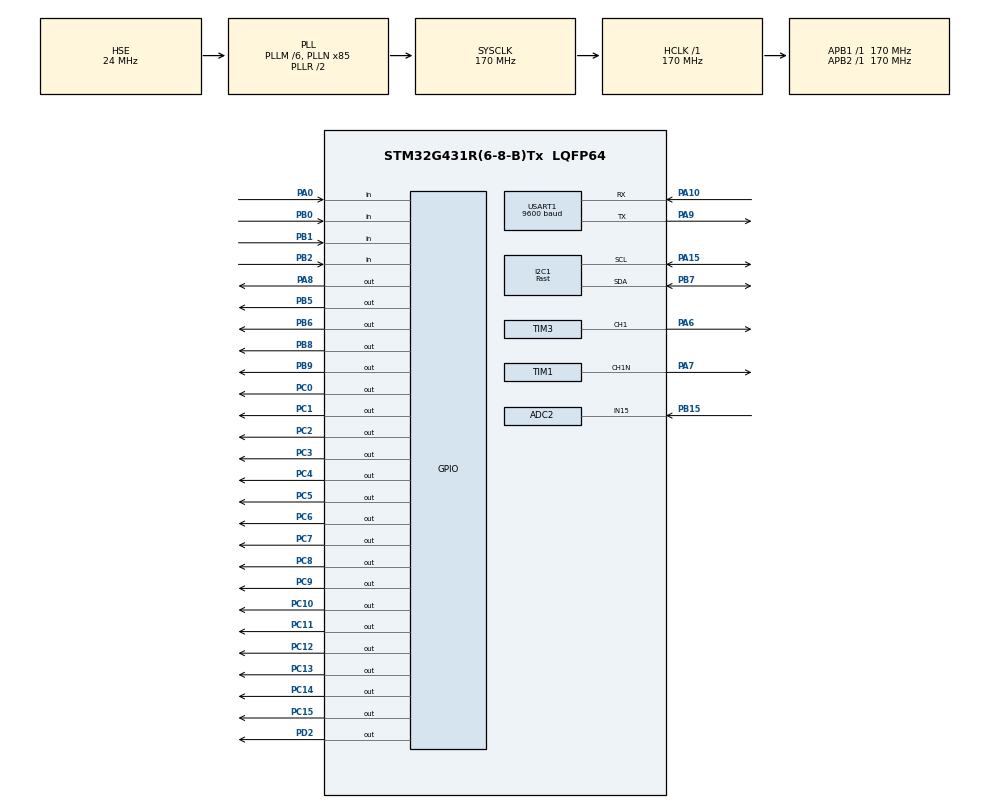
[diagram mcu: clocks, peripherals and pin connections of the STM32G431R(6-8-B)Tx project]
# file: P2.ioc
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ADC2.Channel-0\#ChannelRegularConversion=ADC_CHANNEL_15
ADC2.NbrOfConversionFlag=1
ADC2.OffsetNumber-0\#ChannelRegularConversion=ADC_OFFSET_NONE
ADC2.Rank-0\#ChannelRegularConversion=1
ADC2.SamplingTime-0\#ChannelRegularConversion=ADC_SAMPLETIME_2CYCLES_5
I2C1.CustomTiming=Enabled
I2C1.I2C_Speed_Mode=I2C_Fast
I2C1.Timing=0x30A0A7FB
Mcu.Family=STM32G4
Mcu.Name=STM32G431R(6-8-B)Tx
Mcu.Package=LQFP64
NVIC.PriorityGroup=NVIC_PRIORITYGROUP_4
NVIC.USART1_IRQn=true\:0\:0\:false\:false\:true\:true\:true\:true
PA0.Signal=GPIO_Input
PA10.Mode=Asynchronous
PA10.Signal=USART1_RX
PA13.Mode=Serial_Wire
PA13.Signal=SYS_JTMS-SWDIO
PA14.Mode=Serial_Wire
PA14.Signal=SYS_JTCK-SWCLK
PA15.Mode=I2C
PA15.Signal=I2C1_SCL
PA6.Signal=S_TIM3_CH1
PA7.Mode=PWM Generation1 CH1N
PA7.Signal=TIM1_CH1N
PA8.Signal=GPIO_Output
PA9.Mode=Asynchronous
PA9.Signal=USART1_TX
PB0.Signal=GPIO_Input
PB1.Signal=GPIO_Input
PB15.Mode=IN15-Single-Ended
PB15.Signal=ADC2_IN15
PB2.Signal=GPIO_Input
PB5.Signal=GPIO_Output
PB6.Signal=GPIO_Output
PB7.Mode=I2C
PB7.Signal=I2C1_SDA
PB8-BOOT0.Signal=GPIO_Output
PB9.Signal=GPIO_Output
PC0.Signal=GPIO_Output
PC1.Signal=GPIO_Output
PC10.Signal=GPIO_Output
PC11.Signal=GPIO_Output
PC12.Signal=GPIO_Output
PC13.Signal=GPIO_Output
PC14-OSC32_IN.Signal=GPIO_Output
PC15-OSC32_OUT.Signal=GPIO_Output
PC2.Signal=GPIO_Output
PC3.Signal=GPIO_Output
PC4.Signal=GPIO_Output
PC5.Signal=GPIO_Output
PC6.Signal=GPIO_Output
PC7.Signal=GPIO_Output
PC8.Signal=GPIO_Output
PC9.Signal=GPIO_Output
PD2.Signal=GPIO_Output
PF0-OSC_IN.Mode=HSE-External-Oscillator
PF0-OSC_IN.Signal=RCC_OSC_IN
PF1-OSC_OUT.Mode=HSE-External-Oscillator
PF1-OSC_OUT.Signal=RCC_OSC_OUT
ProjectManager.HeapSize=0x200
ProjectManager.StackSize=0x400
ProjectManager.TargetToolchain=MDK-ARM V5
RCC.ADC12Freq_Value=170000000
RCC.AHBFreq_Value=170000000
RCC.APB1Freq_Value=170000000
RCC.APB1TimFreq_Value=170000000
RCC.APB2Freq_Value=170000000
RCC.APB2TimFreq_Value=170000000
RCC.CortexFreq_Value=170000000
RCC.EXTERNAL_CLOCK_VALUE=12288000
RCC.HCLKFreq_Value=170000000
RCC.HSE_VALUE=24000000
RCC.HSI48_VALUE=48000000
RCC.HSI_VALUE=16000000
RCC.LSE_VALUE=32768
RCC.PLLM=RCC_PLLM_DIV6
RCC.PLLN=85
RCC.PLLSourceVirtual=RCC_PLLSOURCE_HSE
RCC.SYSCLKFreq_VALUE=170000000
RCC.SYSCLKSource=RCC_SYSCLKSOURCE_PLLCLK
RCC.USBFreq_Value=170000000
RCC.VCOOutputFreq_Value=340000000
SH.S_TIM3_CH1.0=TIM3_CH1,PWM Generation1 CH1
TIM1.AutomaticOutput=TIM_AUTOMATICOUTPUT_ENABLE
TIM1.Channel-PWM\ Generation1\ CH1N=TIM_CHANNEL_1
TIM1.PeriodNoDither=4999
TIM1.Prescaler=169
TIM1.PulseNoDither_1=500
TIM3.Channel-PWM\ Generation1\ CH1=TIM_CHANNEL_1
TIM3.PeriodNoDither=9999
TIM3.Prescaler=169
TIM3.PulseNoDither_1=1000
USART1.BaudRate=9600
USART1.OverrunDisableParam=ADVFEATURE_OVERRUN_DISABLE
USART1.VirtualMode-Asynchronous=VM_ASYNC
VP_SYS_VS_DBSignals.Mode=DisableDeadBatterySignals
board=custom

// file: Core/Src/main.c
/* USER CODE BEGIN Header */
/**
  ******************************************************************************
  * @file           : main.c
  * @brief          : Main program body
  ******************************************************************************
  * @attention
  *
  * Copyright (c) 2024 STMicroelectronics.
  * All rights reserved.
  *
  * This software is licensed under terms that can be found in the LICENSE file
  * in the root directory of this software component.
  * If no LICENSE file comes with this software, it is provided AS-IS.
  *
  ******************************************************************************
  */
/* USER CODE END Header */
#include "main.h"
#include "adc.h"
#include "i2c.h"
#include "tim.h"
#include "usart.h"
#include "gpio.h"

/* USER CODE BEGIN Includes */
#include "lcd.h"
#include <string.h>
#include <stdio.h>
/* USER CODE END Includes */

/* USER CODE BEGIN PV */
uint8_t lcdBuffer[21];
uint8_t lcdMs;
uint8_t button = 0;
uint8_t romWriteBuffer;
uint8_t romReadBuffer;
uint8_t ucCNT = 5;
uint8_t test;
uint8_t usartBuffer;
uint8_t usartData[20];
uint8_t usartDataNum;
/* USER CODE END PV */

void SystemClock_Config(void);
/* USER CODE BEGIN PFP */
uint8_t keyRead(void);
void keyFunc(void);
void lcdFunc(void);
void usartFunc(void);
/* USER CODE END PFP */

/* USER CODE BEGIN 0 */
uint8_t keyRead(void)
{
  uint8_t value = 0;
  if (HAL_GPIO_ReadPin(GPIOB,GPIO_PIN_0) == 0)
  {
    HAL_Delay(10);
    if (HAL_GPIO_ReadPin(GPIOB,GPIO_PIN_0) == 0)
    {
      value = 1;
    }
  }

  if (HAL_GPIO_ReadPin(GPIOB,GPIO_PIN_1) == 0)
  {
    HAL_Delay(10);
    if (HAL_GPIO_ReadPin(GPIOB,GPIO_PIN_1) == 0)
    {
      value = 2;
    }
  }

  if (HAL_GPIO_ReadPin(GPIOB,GPIO_PIN_2) == 0)
  {
    HAL_Delay(10);
    if (HAL_GPIO_ReadPin(GPIOB,GPIO_PIN_2) == 0)
    {
      value = 3;
    }
  }

  if (HAL_GPIO_ReadPin(GPIOA,GPIO_PIN_0) == 0)
  {
    HAL_Delay(10);
    if (HAL_GPIO_ReadPin(GPIOA,GPIO_PIN_0) == 0)
    {
      value = 4;
    }
  }
  return value;
}

void keyFunc(void)
{
  uint8_t keyValue = keyRead();
  if (keyValue != button)
  {
    button = keyValue;
  }else
  {
    keyValue = 0;
  }
	if (button == 1)
	{
		usartSend();
	}
}

void lcdFunc(void)
{
  if (lcdMs < 100) return;
  lcdMs = 0;
  sprintf((char*)lcdBuffer,"Reset: %02u",romReadBuffer);
  lcdDisplayLine(lcdBuffer,Line1);
  sprintf((char*)lcdBuffer,"test: %02u",test);
  lcdDisplayLine(lcdBuffer,Line2);
  sprintf((char*)lcdBuffer,"str:%s",usartData);
  lcdDisplayLine(lcdBuffer,Line3);
}

void usartFunc(void)
{
    // 读取UART接收的数据
    if (usartReceive(&usartBuffer) > 0)
    {
        // 检查是否可以存储接收到的数据
        if (usartDataNum < sizeof(usartData))
        {
            if (usartBuffer == '\n' || usartBuffer == '\r')
            {
                usartData[usartDataNum] = '\0';
                usartDataNum = 0; // 重置计数器，准备接收下一条
                if (strcmp(usartData,"ACK") == 0)
                {
                  usartSend();
                }
                lcdClearScreen(0x0000);
                return;
            }
            usartData[usartDataNum++] = usartBuffer; // 将接收到的字节存储到 usartData 中
        }
    }
}
/* USER CODE END 0 */

int main(void)
{

  /* MCU Configuration--------------------------------------------------------*/

  /* Reset of all peripherals, Initializes the Flash interface and the Systick. */
  HAL_Init();

  /* Configure the system clock */
  SystemClock_Config();

  /* Initialize all configured peripherals */
  MX_GPIO_Init();
  MX_ADC2_Init();
  MX_TIM1_Init();
  MX_TIM3_Init();
  MX_I2C1_Init();
  MX_USART1_UART_Init();
  /* USER CODE BEGIN 2 */
  romWriteBuffer = 10;
  // eepromWrite((uint8_t *)&romWriteBuffer,sizeof(uint8_t));
  // eepromRead((uint8_t *)&romReadBuffer,sizeof(uint8_t));
  // if (romReadBuffer == 0)
  // {
  //   test = 1;
  //   romWriteBuffer = 1;
  //   romReadBuffer = 1;
  //   eepromWrite(&romWriteBuffer,sizeof(uint8_t));
  // }else
  // {
  //   romWriteBuffer = romReadBuffer + 1;
  //   romReadBuffer += 1;
  //   eepromWrite(&romWriteBuffer,sizeof(uint8_t));
  // }
  // I2C_Write((uint8_t*)&ucCNT,0,1);
  // HAL_Delay(3);
  // I2C_Read((uint8_t *)&test,0,1);
  // ucCNT++;
  // I2C_Write((uint8_t*)&ucCNT,0,1);
  lcdInit();
  lcdClearScreen(0x0000);

  /* USER CODE END 2 */

  /* Infinite loop */
  while (1)
  {
    usartFunc();
    lcdFunc();
    keyFunc();
  }
}

void SystemClock_Config(void)
{
  RCC_OscInitTypeDef RCC_OscInitStruct = {0};
  RCC_ClkInitTypeDef RCC_ClkInitStruct = {0};

  /** Configure the main internal regulator output voltage
  */
  HAL_PWREx_ControlVoltageScaling(PWR_REGULATOR_VOLTAGE_SCALE1_BOOST);

  /** Initializes the RCC Oscillators according to the specified parameters
  * in the RCC_OscInitTypeDef structure.
  */
  RCC_OscInitStruct.OscillatorType = RCC_OSCILLATORTYPE_HSE;
  RCC_OscInitStruct.HSEState = RCC_HSE_ON;
  RCC_OscInitStruct.PLL.PLLState = RCC_PLL_ON;
  RCC_OscInitStruct.PLL.PLLSource = RCC_PLLSOURCE_HSE;
  RCC_OscInitStruct.PLL.PLLM = RCC_PLLM_DIV6;
  RCC_OscInitStruct.PLL.PLLN = 85;
  RCC_OscInitStruct.PLL.PLLP = RCC_PLLP_DIV2;
  RCC_OscInitStruct.PLL.PLLQ = RCC_PLLQ_DIV2;
  RCC_OscInitStruct.PLL.PLLR = RCC_PLLR_DIV2;
  if (HAL_RCC_OscConfig(&RCC_OscInitStruct) != HAL_OK)
  {
    Error_Handler();
  }

  /** Initializes the CPU, AHB and APB buses clocks
  */
  RCC_ClkInitStruct.ClockType = RCC_CLOCKTYPE_HCLK|RCC_CLOCKTYPE_SYSCLK
                              |RCC_CLOCKTYPE_PCLK1|RCC_CLOCKTYPE_PCLK2;
  RCC_ClkInitStruct.SYSCLKSource = RCC_SYSCLKSOURCE_PLLCLK;
  RCC_ClkInitStruct.AHBCLKDivider = RCC_SYSCLK_DIV1;
  RCC_ClkInitStruct.APB1CLKDivider = RCC_HCLK_DIV1;
  RCC_ClkInitStruct.APB2CLKDivider = RCC_HCLK_DIV1;

  if (HAL_RCC_ClockConfig(&RCC_ClkInitStruct, FLASH_LATENCY_4) != HAL_OK)
  {
    Error_Handler();
  }
}

void Error_Handler(void)
{
  __disable_irq();
  while (1)
  {
  }
}
